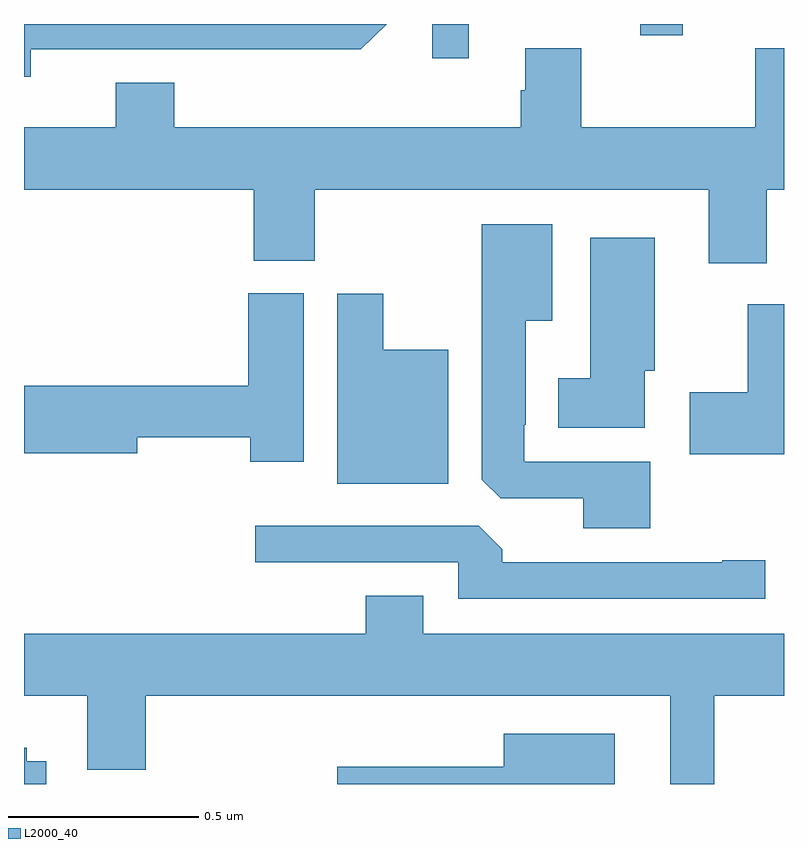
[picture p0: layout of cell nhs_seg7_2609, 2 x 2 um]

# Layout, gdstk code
import gdstk
lib = gdstk.Library(unit=1e-6, precision=1e-09)
def R(c, l, rs):  # rectangles x0, y0, x1, y1
    for r in rs: c.add(gdstk.rectangle(r[:2], r[2:], *l))
def P(c, l, *ps):  # polygons
    for p in ps: c.add(gdstk.Polygon(p, *l))
L2000_40 = (2000, 40)

nhs_seg7_2609 = lib.new_cell('nhs_seg7_2609')
R(nhs_seg7_2609, L2000_40, [(148.074,1052.91,148.171,1053), (148.622,1052.97,148.733,1053)])
P(nhs_seg7_2609, L2000_40, [(147.018,1052.934),(147.478,1052.934),(147.478,1052.933),(147.886,1052.933),(147.954,1053),(147,1053),(147,1052.861),(147.018,1052.861)],
  [(148.955,1052.564),(149,1052.564),(149,1052.936),(148.924,1052.936),(148.924,1052.728),(148.467,1052.728),(148.467,1052.936),(148.319,1052.936),(148.319,1052.826),(148.307,1052.826),(148.307,1052.728),(147.395,1052.728),(147.395,1052.845),(147.242,1052.845),(147.242,1052.728),(147,1052.728),(147,1052.564),(147.605,1052.564),(147.605,1052.377),(147.765,1052.377),(147.765,1052.564),(148.802,1052.564),(148.802,1052.37),(148.955,1052.37)],
  [(148.648,1051.848),(148.317,1051.848),(148.317,1051.945),(148.321,1051.945),(148.321,1052.219),(148.39,1052.219),(148.39,1052.473),(148.205,1052.473),(148.205,1051.801),(148.254,1051.752),(148.472,1051.752),(148.472,1051.673),(148.648,1051.673)],
  [(148.633,1052.088),(148.66,1052.088),(148.66,1052.437),(148.49,1052.437),(148.49,1052.068),(148.406,1052.068),(148.406,1051.937),(148.633,1051.937)],
  [(147.736,1052.292),(147.59,1052.292),(147.59,1052.048),(147,1052.048),(147,1051.87),(147.298,1051.87),(147.298,1051.912),(147.595,1051.912),(147.595,1051.848),(147.736,1051.848)],
  [(148.117,1052.143),(147.946,1052.143),(147.946,1052.29),(147.824,1052.29),(147.824,1051.79),(148.117,1051.79)],
  [(149,1052.263),(148.904,1052.263),(148.904,1052.031),(148.752,1052.031),(148.752,1051.868),(149,1051.868)],
  [(148.951,1051.589),(148.838,1051.589),(148.838,1051.584),(148.259,1051.584),(148.259,1051.618),(148.197,1051.68),(147.609,1051.68),(147.609,1051.584),(148.143,1051.584),(148.143,1051.488),(148.951,1051.488)],
  [(148.817,1051.232),(149,1051.232),(149,1051.396),(148.051,1051.396),(148.051,1051.495),(147.899,1051.495),(147.899,1051.396),(147,1051.396),(147,1051.232),(147.167,1051.232),(147.167,1051.038),(147.32,1051.038),(147.32,1051.232),(148.7,1051.232),(148.7,1051),(148.817,1051)],
  [(148.555,1051.132),(148.262,1051.132),(148.262,1051.046),(147.824,1051.046),(147.824,1051),(148.555,1051)],
  [(147.058,1051.06),(147.007,1051.06),(147.007,1051.096),(147,1051.096),(147,1051),(147.058,1051)])

lib.write_gds('nhs_seg7_2609.gds')
